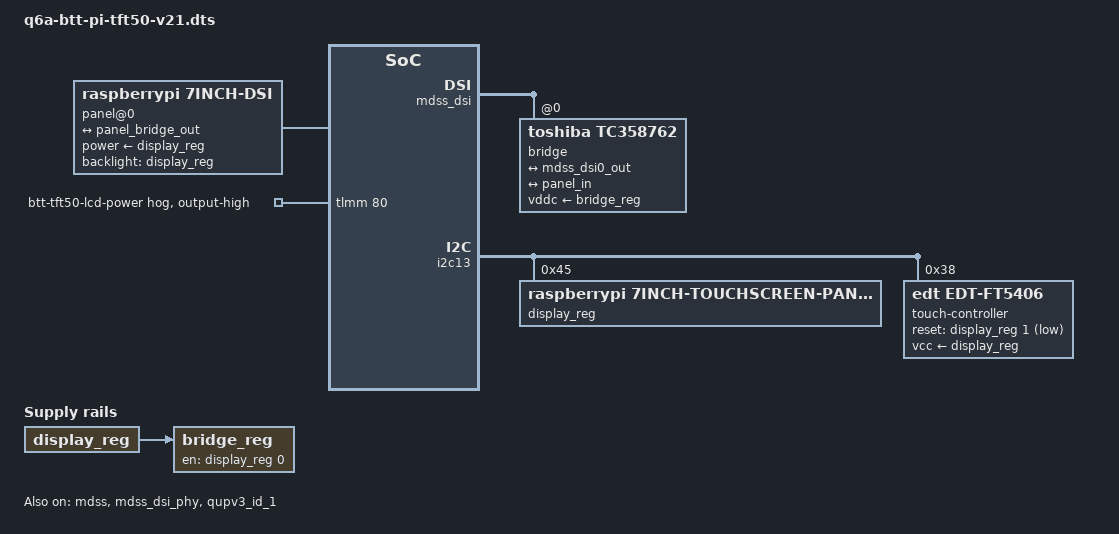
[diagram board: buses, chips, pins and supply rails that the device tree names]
// SPDX-License-Identifier: BSD-3-Clause
/*
 * Copyright (c) 2025 Radxa Computer (Shenzhen) Co., Ltd.
 * Adapted from Radxa raspberry-pi-7-inch-touchscreen (fbcee0ab93d0).
 */

/dts-v1/;
/plugin/;

/ {
	metadata {
		title = "BTT Pi TFT50 V2.1";
		compatible = "radxa,dragon-q6a";
		category = "display";
		exclusive = "mdss_dsi", "gpio80";
		description = "LCD power, DSI panel and I2C touchscreen with polling.";
	};
};

&{/} {
	bridge_reg: bridge-regulator {
		compatible = "regulator-fixed";
		regulator-name = "bridge-reg";
		gpio = <&display_reg 0 0 /* active high */>;
		vin-supply = <&display_reg>;
		enable-active-high;
	};

	panel@0 {
		compatible = "raspberrypi,7inch-dsi";
		backlight = <&display_reg>;
		power-supply = <&display_reg>;
		port {
			panel_in: endpoint {
				remote-endpoint = <&panel_bridge_out>;
			};
		};
	};
};

&mdss {
	status = "okay";
};

&mdss_dsi {
	vdda-supply = <&vreg_l6b_1p2>;
	#address-cells = <1>;
	#size-cells = <0>;

	status = "okay";

	bridge@0 {
		compatible = "toshiba,tc358762";
		reg = <0>;
		vddc-supply = <&bridge_reg>;
		ports {
			#address-cells = <1>;
			#size-cells = <0>;

			port@0 {
				reg = <0>;
				panel_in_dsi1: endpoint {
					remote-endpoint = <&mdss_dsi0_out>;
				};
			};

			port@1 {
				reg = <1>;
				panel_bridge_out: endpoint {
					remote-endpoint = <&panel_in>;
				};
			};
		};
	};
};

&mdss_dsi0_out {
	remote-endpoint = <&panel_in_dsi1>;
	data-lanes = <0>;
};

&mdss_dsi_phy {
	vdds-supply = <&vreg_l10c_0p88>;
	status = "okay";
};

&qupv3_id_1 {
	status = "okay";
};

&i2c13 {
	#address-cells = <1>;
	#size-cells = <0>;

	status = "okay";

	display_reg: regulator@45 {
		compatible = "raspberrypi,7inch-touchscreen-panel-regulator";
		reg = <0x45>;
		gpio-controller;
		#gpio-cells = <2>;
	};

	touch-controller@38 {
		compatible = "edt,edt-ft5406";
		reg = <0x38>;

		touchscreen-size-x = < 800 >;
		touchscreen-size-y = < 480 >;

		vcc-supply = <&display_reg>;
		reset-gpio = <&display_reg 1 1 /* active low */>;
		/* The adapter has no usable touch IRQ. edt-ft5x06 polls at 17 ms. */

		touchscreen-inverted-x;
		touchscreen-inverted-y;
	};
};

/* Q6A V1.21 J10: GPIO80 (LCD_VCC_EN) enables the LCD's 3.3 V rail. */
&tlmm {
	btt-tft50-lcd-power-hog {
		gpio-hog;
		gpios = <80 0>;
		output-high;
		line-name = "btt-tft50-lcd-power";
	};
};
